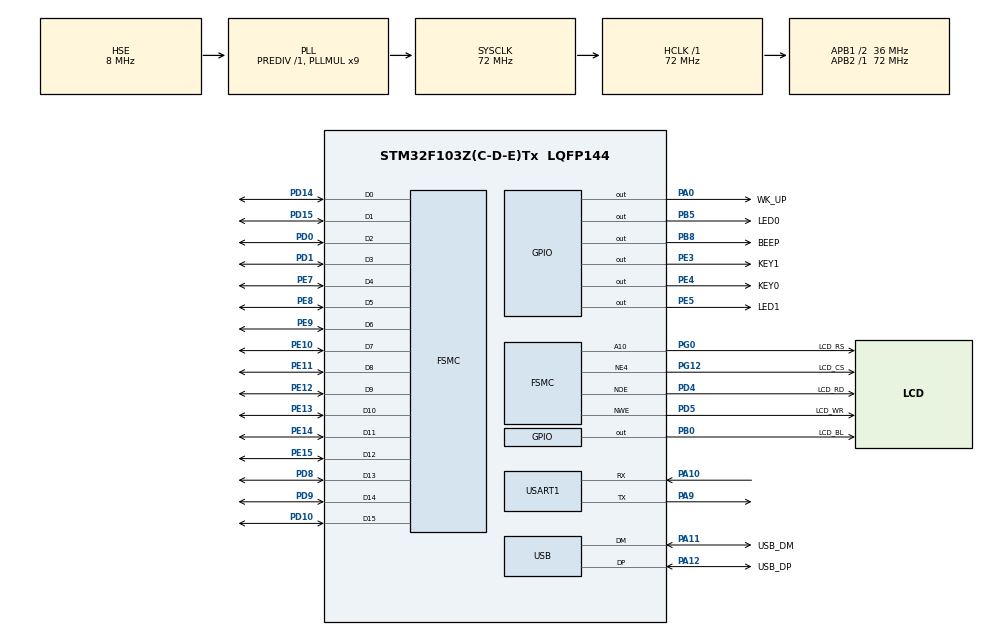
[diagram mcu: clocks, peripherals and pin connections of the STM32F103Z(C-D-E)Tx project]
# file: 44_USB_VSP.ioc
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FSMC.AddressSetupTime1=0
FSMC.BusTurnAroundDuration1=15
FSMC.DataSetupTime1=15
FSMC.ExtendedAddressSetupTime1=0
FSMC.ExtendedDataSetupTime1=1
FSMC.ExtendedMode1=FSMC_EXTENDED_MODE_ENABLE
Mcu.Family=STM32F1
Mcu.Name=STM32F103Z(C-D-E)Tx
Mcu.Package=LQFP144
NVIC.PriorityGroup=NVIC_PRIORITYGROUP_2
NVIC.USART1_IRQn=true\:2\:2\:true\:false\:true\:true\:true\:true
NVIC.USB_LP_CAN1_RX0_IRQn=true\:2\:1\:true\:false\:true\:false\:true\:true
OSC_IN.Mode=HSE-External-Oscillator
OSC_IN.Signal=RCC_OSC_IN
OSC_OUT.Mode=HSE-External-Oscillator
OSC_OUT.Signal=RCC_OSC_OUT
PA0-WKUP.GPIO_Label=WK_UP
PA0-WKUP.GPIO_PuPd=GPIO_PULLDOWN
PA0-WKUP.GPIO_Speed=GPIO_SPEED_FREQ_HIGH
PA0-WKUP.PinState=GPIO_PIN_RESET
PA0-WKUP.Signal=GPIO_Output
PA10.Mode=Asynchronous
PA10.Signal=USART1_RX
PA11.GPIO_Label=USB_DM
PA11.Mode=Device
PA11.Signal=USB_DM
PA12.GPIO_Label=USB_DP
PA12.Mode=Device
PA12.Signal=USB_DP
PA13.Mode=Serial_Wire
PA13.Signal=SYS_JTMS-SWDIO
PA14.Mode=Serial_Wire
PA14.Signal=SYS_JTCK-SWCLK
PA9.Mode=Asynchronous
PA9.Signal=USART1_TX
PB0.GPIO_Label=LCD_BL
PB0.GPIO_PuPd=GPIO_PULLUP
PB0.GPIO_Speed=GPIO_SPEED_FREQ_HIGH
PB0.PinState=GPIO_PIN_SET
PB0.Signal=GPIO_Output
PB5.GPIO_Label=LED0
PB5.GPIO_PuPd=GPIO_PULLUP
PB5.GPIO_Speed=GPIO_SPEED_FREQ_HIGH
PB5.PinState=GPIO_PIN_SET
PB5.Signal=GPIO_Output
PB8.GPIO_Label=BEEP
PB8.GPIO_ModeDefaultOutputPP=GPIO_MODE_OUTPUT_PP
PB8.GPIO_PuPd=GPIO_PULLDOWN
PB8.GPIO_Speed=GPIO_SPEED_FREQ_HIGH
PB8.PinState=GPIO_PIN_RESET
PB8.Signal=GPIO_Output
PC14-OSC32_IN.Mode=LSE-External-Oscillator
PC14-OSC32_IN.Signal=RCC_OSC32_IN
PC15-OSC32_OUT.Mode=LSE-External-Oscillator
PC15-OSC32_OUT.Signal=RCC_OSC32_OUT
PD0.Signal=FSMC_D2_DA2
PD1.Signal=FSMC_D3_DA3
PD10.Signal=FSMC_D15_DA15
PD14.Signal=FSMC_D0_DA0
PD15.Signal=FSMC_D1_DA1
PD4.GPIO_Label=LCD_RD
PD4.Signal=FSMC_NOE
PD5.GPIO_Label=LCD_WR
PD5.Signal=FSMC_NWE
PD8.Signal=FSMC_D13_DA13
PD9.Signal=FSMC_D14_DA14
PE10.Signal=FSMC_D7_DA7
PE11.Signal=FSMC_D8_DA8
PE12.Signal=FSMC_D9_DA9
PE13.Signal=FSMC_D10_DA10
PE14.Signal=FSMC_D11_DA11
PE15.Signal=FSMC_D12_DA12
PE3.GPIO_Label=KEY1
PE3.GPIO_PuPd=GPIO_PULLUP
PE3.GPIO_Speed=GPIO_SPEED_FREQ_HIGH
PE3.PinState=GPIO_PIN_SET
PE3.Signal=GPIO_Output
PE4.GPIO_Label=KEY0
PE4.GPIO_PuPd=GPIO_PULLUP
PE4.GPIO_Speed=GPIO_SPEED_FREQ_HIGH
PE4.PinState=GPIO_PIN_SET
PE4.Signal=GPIO_Output
PE5.GPIO_Label=LED1
PE5.GPIO_PuPd=GPIO_PULLUP
PE5.GPIO_Speed=GPIO_SPEED_FREQ_HIGH
PE5.PinState=GPIO_PIN_SET
PE5.Signal=GPIO_Output
PE7.Signal=FSMC_D4_DA4
PE8.Signal=FSMC_D5_DA5
PE9.Signal=FSMC_D6_DA6
PG0.GPIO_Label=LCD_RS
PG0.Signal=FSMC_A10
PG12.GPIO_Label=LCD_CS
PG12.Mode=NorPsramChipSelect4_1
PG12.Signal=FSMC_NE4
ProjectManager.HeapSize=0x200
ProjectManager.StackSize=0x400
ProjectManager.TargetToolchain=STM32CubeIDE
RCC.AHBFreq_Value=72000000
RCC.APB1CLKDivider=RCC_HCLK_DIV2
RCC.APB1Freq_Value=36000000
RCC.APB1TimFreq_Value=72000000
RCC.APB2Freq_Value=72000000
RCC.APB2TimFreq_Value=72000000
RCC.HCLKFreq_Value=72000000
RCC.PLLMUL=RCC_PLL_MUL9
RCC.PLLSourceVirtual=RCC_PLLSOURCE_HSE
RCC.SYSCLKFreq_VALUE=72000000
RCC.SYSCLKSource=RCC_SYSCLKSOURCE_PLLCLK
RCC.USBFreq_Value=48000000
RCC.USBPrescaler=RCC_USBCLKSOURCE_PLL_DIV1_5
SH.FSMC_A10.0=FSMC_A10,A10_1
SH.FSMC_D0_DA0.0=FSMC_D0,16b-d1
SH.FSMC_D10_DA10.0=FSMC_D10,16b-d1
SH.FSMC_D11_DA11.0=FSMC_D11,16b-d1
SH.FSMC_D12_DA12.0=FSMC_D12,16b-d1
SH.FSMC_D13_DA13.0=FSMC_D13,16b-d1
SH.FSMC_D14_DA14.0=FSMC_D14,16b-d1
SH.FSMC_D15_DA15.0=FSMC_D15,16b-d1
SH.FSMC_D1_DA1.0=FSMC_D1,16b-d1
SH.FSMC_D2_DA2.0=FSMC_D2,16b-d1
SH.FSMC_D3_DA3.0=FSMC_D3,16b-d1
SH.FSMC_D4_DA4.0=FSMC_D4,16b-d1
SH.FSMC_D5_DA5.0=FSMC_D5,16b-d1
SH.FSMC_D6_DA6.0=FSMC_D6,16b-d1
SH.FSMC_D7_DA7.0=FSMC_D7,16b-d1
SH.FSMC_D8_DA8.0=FSMC_D8,16b-d1
SH.FSMC_D9_DA9.0=FSMC_D9,16b-d1
SH.FSMC_NOE.0=FSMC_NOE,Lcd1
SH.FSMC_NWE.0=FSMC_NWE,Lcd1
USART1.VirtualMode=VM_ASYNC
USB_DEVICE.CLASS_NAME_FS=CDC
USB_DEVICE.VirtualMode=Cdc
USB_DEVICE.VirtualModeFS=Cdc_FS
VP_USB_DEVICE_VS_USB_DEVICE_CDC_FS.Mode=CDC_FS
board=custom

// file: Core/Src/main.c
/* USER CODE BEGIN Header */
/**
 ****************************************************************************************************
 * @file        main.c
 * @author      正点原子团队(ALIENTEK)
 * @version     V1.0
 * @date        2024-01-01
 * @brief       USB虚拟串口(Slave) 实验
 * @license     Copyright (c) 2020-2032, 广州市星翼电子科技有限公司
 ****************************************************************************************************
 * @attention
 *
 * 实验平台:正点原子 STM32F103开发板
 * 在线视频:www.yuanzige.com
 * 技术论坛:www.openedv.com
 * 公司网址:www.alientek.com
 * 购买地址:openedv.taobao.com
 *
 ****************************************************************************************************
 */
/* USER CODE END Header */
#include "main.h"
#include "usart.h"
#include "usb_device.h"
#include "gpio.h"
#include "fsmc.h"

/* USER CODE BEGIN Includes */
#include "../../BSP/LED/led.h"
#include "../../BSP/KEY/key.h"
#include "../../BSP/LCD/lcd.h"
#include "../../SYSTEM/delay/delay.h"
#include "../../ATK_Middlewares/MALLOC/malloc.h"
#include "usbd_cdc_if.h"
/* USER CODE END Includes */

/* USER CODE BEGIN PTD */
extern volatile uint8_t g_device_state;     /* USB连接 情况 */
/* USER CODE END PTD */

void SystemClock_Config(void);

int main(void)
{
  /* USER CODE BEGIN 1 */
    uint16_t len;
    uint16_t times = 0;
    uint8_t usbstatus = 0;
  /* USER CODE END 1 */

  /* MCU Configuration--------------------------------------------------------*/

  /* Reset of all peripherals, Initializes the Flash interface and the Systick. */
  HAL_Init();

  /* Configure the system clock */
  SystemClock_Config();

  /* USER CODE BEGIN SysInit */
  delay_init(72);						   /* 初始化延时函数 */
  /* USER CODE END SysInit */

  /* Initialize all configured peripherals */
  MX_GPIO_Init();
  MX_FSMC_Init();
  MX_USART1_UART_Init();
  MX_USB_DEVICE_Init();
  /* USER CODE BEGIN 2 */
  lcd_init();                                         	/* 初始化LCD */
  my_mem_init(SRAMIN);                					/* 初始化内部SRAM内存池 */

  lcd_show_string(30, 50, 200, 16, 16, "STM32", RED);
  lcd_show_string(30, 70, 200, 16, 16, "USB Virtual USART TEST", RED);
  lcd_show_string(30, 90, 200, 16, 16, "ATOM@ALIENTEK", RED);
  lcd_show_string(30, 110, 200, 16, 16, "USB Connecting...", RED); /* 提示USB开始连接 */

  usbd_port_config(0);    /* USB先断开 */
  delay_ms(500);
  usbd_port_config(1);    /* USB再次连接 */
  delay_ms(500);
  /* USER CODE END 2 */

  /* Infinite loop */
  /* USER CODE BEGIN WHILE */
  while (1)
  {
	  if (usbstatus != g_device_state)   /* USB连接状态发生了改变 */
	  {
		  usbstatus = g_device_state; /* 记录新的状态 */

		  if (usbstatus == 1)
		  {
			  lcd_show_string(30, 110, 200, 16, 16, "USB Connected    ", RED); /* 提示USB连接成功 */
			  LED1(0);    /* 绿灯亮 */
		  }
		  else
		  {
			  lcd_show_string(30, 110, 200, 16, 16, "USB disConnected ", RED); /* 提示USB断开 */
			  LED1(1);    /* 绿灯灭 */
		  }
	  }

	  if (g_usb_usart_rx_sta & 0x8000)
	  {
		  len = g_usb_usart_rx_sta & 0x3FFF;  /* 得到此次接收到的数据长度 */
		  usb_printf("\r\n您发送的消息长度为:%d\r\n\r\n", len);
		  cdc_vcp_data_tx(g_usb_usart_rx_buffer, len);;
		  usb_printf("\r\n\r\n");/* 插入换行 */
		  g_usb_usart_rx_sta = 0;
	  }
	  else
	  {
		  times++;

		  if (times % 5000 == 0)
		  {
			  usb_printf("\r\nSTM32开发板USB虚拟串口实验\r\n");
			  usb_printf("正点原子@ALIENTEK\r\n\r\n");
		  }

		  if (times % 200 == 0)usb_printf("请输入数据,以回车键结束\r\n");

		  if (times % 30 == 0)
		  {
			  LED0_TOGGLE();  /* 闪烁LED,提示系统正在运行 */
		  }

		  delay_ms(10);
	  }

    /* USER CODE END WHILE */

  }
}

void SystemClock_Config(void)
{
  RCC_OscInitTypeDef RCC_OscInitStruct = {0};
  RCC_ClkInitTypeDef RCC_ClkInitStruct = {0};
  RCC_PeriphCLKInitTypeDef PeriphClkInit = {0};

  /** Initializes the RCC Oscillators according to the specified parameters
  * in the RCC_OscInitTypeDef structure.
  */
  RCC_OscInitStruct.OscillatorType = RCC_OSCILLATORTYPE_HSE;
  RCC_OscInitStruct.HSEState = RCC_HSE_ON;
  RCC_OscInitStruct.HSEPredivValue = RCC_HSE_PREDIV_DIV1;
  RCC_OscInitStruct.HSIState = RCC_HSI_ON;
  RCC_OscInitStruct.PLL.PLLState = RCC_PLL_ON;
  RCC_OscInitStruct.PLL.PLLSource = RCC_PLLSOURCE_HSE;
  RCC_OscInitStruct.PLL.PLLMUL = RCC_PLL_MUL9;
  if (HAL_RCC_OscConfig(&RCC_OscInitStruct) != HAL_OK)
  {
    Error_Handler();
  }

  /** Initializes the CPU, AHB and APB buses clocks
  */
  RCC_ClkInitStruct.ClockType = RCC_CLOCKTYPE_HCLK|RCC_CLOCKTYPE_SYSCLK
                              |RCC_CLOCKTYPE_PCLK1|RCC_CLOCKTYPE_PCLK2;
  RCC_ClkInitStruct.SYSCLKSource = RCC_SYSCLKSOURCE_PLLCLK;
  RCC_ClkInitStruct.AHBCLKDivider = RCC_SYSCLK_DIV1;
  RCC_ClkInitStruct.APB1CLKDivider = RCC_HCLK_DIV2;
  RCC_ClkInitStruct.APB2CLKDivider = RCC_HCLK_DIV1;

  if (HAL_RCC_ClockConfig(&RCC_ClkInitStruct, FLASH_LATENCY_2) != HAL_OK)
  {
    Error_Handler();
  }
  PeriphClkInit.PeriphClockSelection = RCC_PERIPHCLK_USB;
  PeriphClkInit.UsbClockSelection = RCC_USBCLKSOURCE_PLL_DIV1_5;
  if (HAL_RCCEx_PeriphCLKConfig(&PeriphClkInit) != HAL_OK)
  {
    Error_Handler();
  }
}

void Error_Handler(void)
{
  __disable_irq();
  while (1)
  {
  }
}
